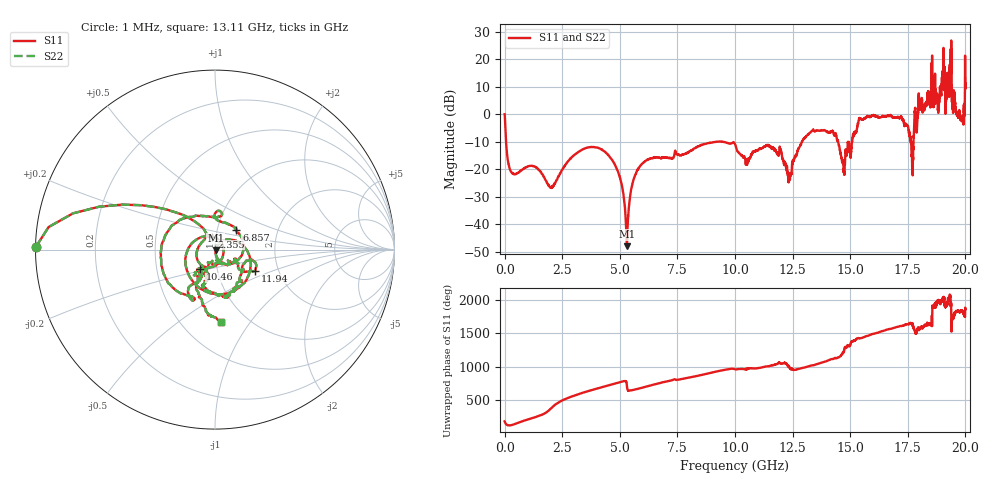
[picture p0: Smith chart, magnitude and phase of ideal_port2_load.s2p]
! Created with skrf (http://scikit-rf.org).
# GHz S RI R 50.0
!freq ReS11 ImS11 ReS21 ImS21 ReS12 ImS12 ReS22 ImS22
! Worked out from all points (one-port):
!   10001 points, 1 MHz to 20 GHz, reference 50 ohm
!   lowest |S11| = -48.0 dB at 5.313 GHz (marker M1), VSWR 1.01, Z = 50.4 - j0.156 ohm
!   |S11| at or under -10 dB: 63.4 MHz to 9.182 GHz (9.118 GHz wide, 197 % of centre); 9.437 GHz to 12.9 GHz (3.468 GHz wide, 31 % of centre); 14.47 GHz to 15.07 GHz (598.9 MHz wide, 4.05 % of centre) (the widest 3 of 11)
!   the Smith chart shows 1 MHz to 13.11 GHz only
!   S11 on the Smith chart (normalised r, x): 1 MHz: 0.00, +0.01; 2.355 GHz: 0.95, +0.14; 6.857 GHz: 1.23, +0.28; 10.46 GHz: 0.83, -0.18; 11.94 GHz: 1.52, -0.38; 13.11 GHz: 0.76, -0.74
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0.001  -0.9976 0.0158  0 0  0 0  -0.9976 0.0158
2.354882  -0.0195 0.0722  0 0  0 0  -0.0195 0.0722
3.334833  -0.1079 -0.1956  0 0  0 0  -0.1079 -0.1956
5.312734  0.00367 -0.00155  0 0  0 0  0.00367 -0.00155
6.668667  0.1464 0.0704  0 0  0 0  0.1464 0.0704
6.856657  0.1188 0.1101  0 0  0 0  0.1188 0.1101
10.0005  -0.1468 -0.2479  0 0  0 0  -0.1468 -0.2479
10.45848  -0.083 -0.1095  0 0  0 0  -0.083 -0.1095
11.9444  0.2247 -0.1166  0 0  0 0  0.2247 -0.1166
13.11034  0.0334 -0.404  0 0  0 0  0.0334 -0.404
13.33433  0.2173 -0.4436  0 0  0 0  0.2173 -0.4436
15.73021  0.8669 0.2748  0 0  0 0  0.8669 0.2748
16.66817  -0.4449 0.8205  0 0  0 0  -0.4449 0.8205
18.0521  -1.141 1.066  0 0  0 0  -1.141 1.066
18.46208  -1.825 -0.0419  0 0  0 0  -1.825 -0.0419
18.66407  -2.432 2.125  0 0  0 0  -2.432 2.125
18.99605  -3.176 -2.383  0 0  0 0  -3.176 -2.383
19.19004  -0.7041 2.132  0 0  0 0  -0.7041 2.132
19.30004  -3.631 -1.52  0 0  0 0  -3.631 -1.52
19.40003  -0.9922 -4.763  0 0  0 0  -0.9922 -4.763
19.52802  2.093 -0.7159  0 0  0 0  2.093 -0.7159
20  1.887 3.096  0 0  0 0  1.887 3.096
